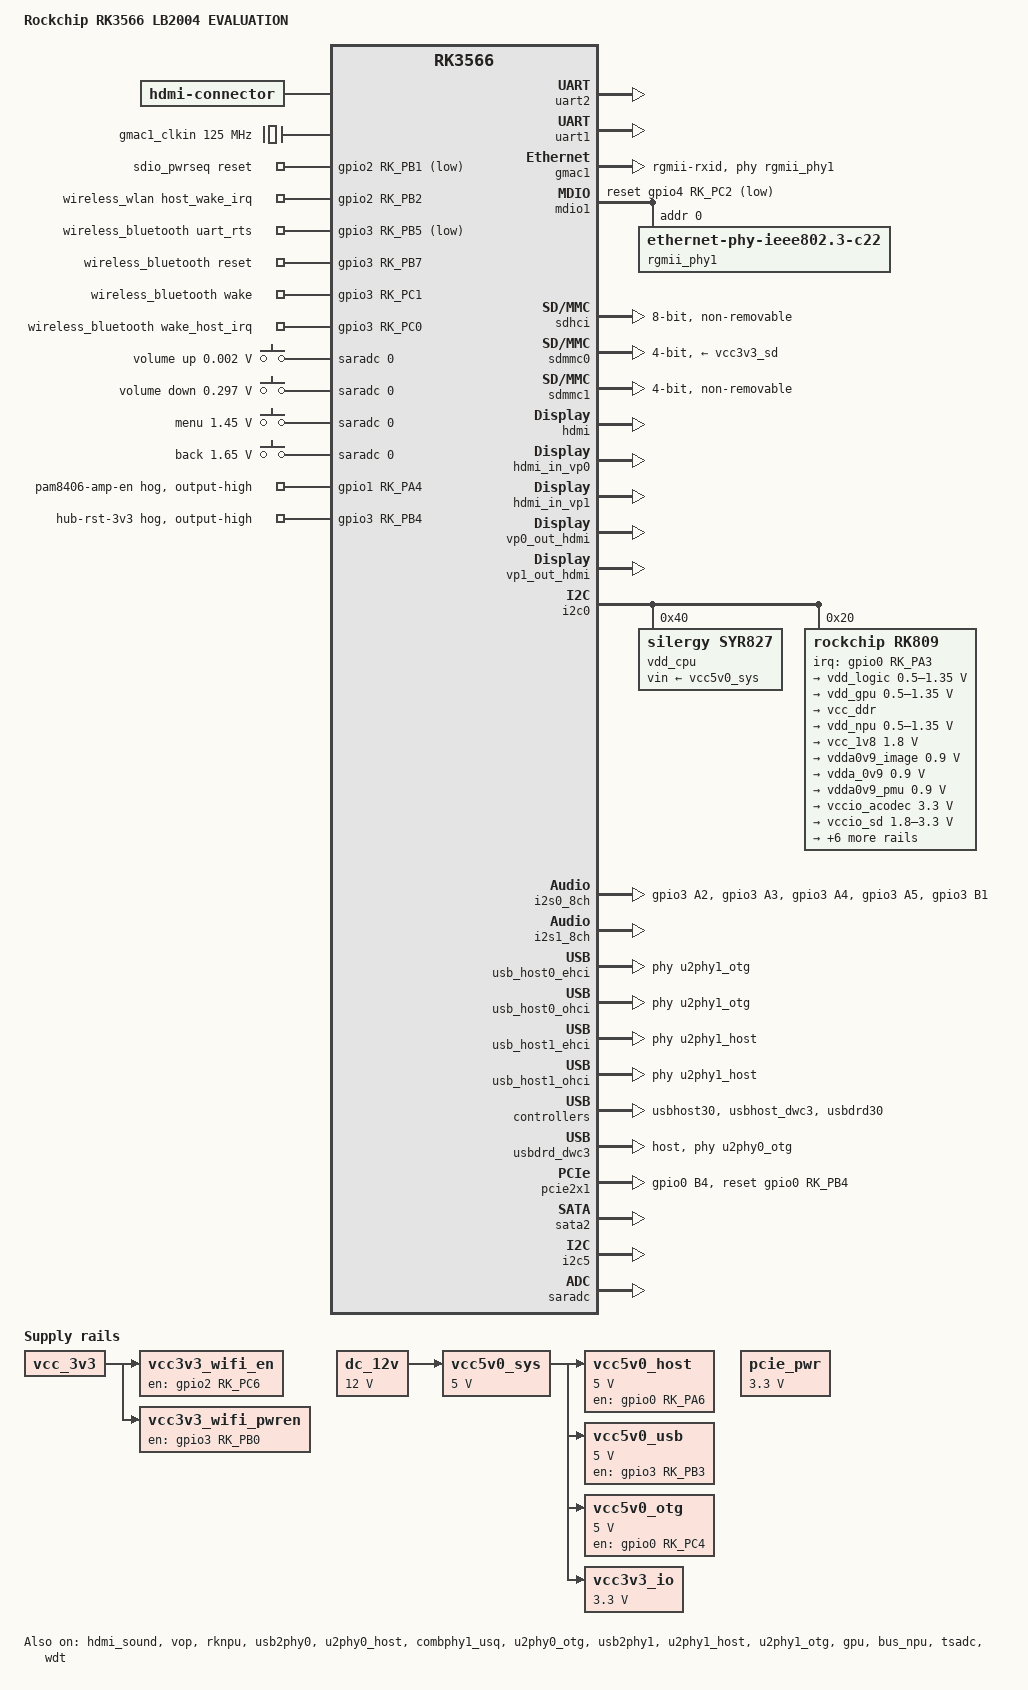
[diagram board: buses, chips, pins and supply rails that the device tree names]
// SPDX-License-Identifier: (GPL-2.0+ OR MIT)
/*
 * Device Tree for RK3566 LB2004 - ported to kemp233/linux-rockchip rk-6.1-rkr6.1
 *
 * Originally written for unifreq/linux-6.1.y-rockchip (kemp233-amlogic-s9xxx-armbian
 * compile-kernel workflow). The two BSP-6.1 forks differ slightly in label naming
 * and node presence; this port wraps the labels that don't exist in
 * kemp233/linux-rockchip rk-6.1-rkr6.1 in #if 0 blocks. To enable them, switch
 * KERNELSOURCE to a BSP tree that has pcie30phy/pcie3x2/vp[0-2] (e.g. unifreq)
 * and remove the #if 0 / #endif.
 */

/dts-v1/;

#include <dt-bindings/gpio/gpio.h>
#include <dt-bindings/input/input.h>
#include <dt-bindings/pinctrl/rockchip.h>
#include <dt-bindings/soc/rockchip,vop2.h>
#include "rk3566.dtsi"

/ {
	model = "Rockchip RK3566 LB2004 EVALUATION";
	compatible = "rockchip,rk3566-evb2-lp4x-v10", "rockchip,rk3566";

	aliases {
		ethernet0 = &gmac1;
		mmc0 = &sdhci;
		mmc1 = &sdmmc1;
		mmc2 = &sdmmc0;
		serial2 = &uart2;
	};

	chosen: chosen {
		stdout-path = "serial2:1500000n8";
	};

	reserved_memory: reserved-memory {
		#address-cells = <2>;
		#size-cells = <2>;
		ranges;

		linux,cma {
			compatible = "shared-dma-pool";
			reusable;
			size = <0x0 0x800000>;
			alloc-ranges = <0x0 0x10000000 0x0 0x800000>;
			linux,cma-default;
		};

		/* 128MB DMA pool for NPU - reserved_memory node, valid in both forks */
		rknpu_mem: rknpu {
			compatible = "shared-dma-pool";
			inactive;
			reusable;
			size = <0x0 0x08000000>;
			alignment = <0x0 0x1000>;
		};

		ramoops: ramoops@110000 {
			compatible = "ramoops";
			reg = <0x0 0x110000 0x0 0xf0000>;
			record-size = <0x20000>;
			console-size = <0x80000>;
			ftrace-size = <0x00000>;
			pmsg-size = <0x50000>;
		};
	};

	/* HDMI connector - kept for compatibility; remote-endpoint omitted
	 * because rk-6.1-rkr6.1 dtsi lacks &hdmi_out label. */
	hdmi-con {
		compatible = "hdmi-connector";
		type = "a";

		port {
			hdmi_con_in: endpoint {
				/* remote-endpoint = <&hdmi_out_con>; BSP-specific */
			};
		};
	};

	/* External 125MHz clock for GMAC1 */
	gmac1_clkin: external-gmac1-clock {
		compatible = "fixed-clock";
		clock-frequency = <125000000>;
		clock-output-names = "gmac1_clkin";
		#clock-cells = <0>;
	};

	/* Power regulators */
	dc_12v: dc-12v {
		compatible = "regulator-fixed";
		regulator-name = "dc_12v";
		regulator-always-on;
		regulator-boot-on;
		regulator-min-microvolt = <12000000>;
		regulator-max-microvolt = <12000000>;
	};

	vcc5v0_sys: vcc5v0-sys {
		compatible = "regulator-fixed";
		regulator-name = "vcc5v0_sys";
		regulator-always-on;
		regulator-boot-on;
		regulator-min-microvolt = <5000000>;
		regulator-max-microvolt = <5000000>;
		vin-supply = <&dc_12v>;
	};

	vcc5v0_host: vcc5v0-host {
		compatible = "regulator-fixed";
		enable-active-high;
		gpio = <&gpio0 RK_PA6 GPIO_ACTIVE_HIGH>;
		pinctrl-names = "default";
		pinctrl-0 = <&vcc5v0_host_en>;
		regulator-name = "vcc5v0_host";
		regulator-always-on;
		regulator-boot-on;
		regulator-min-microvolt = <5000000>;
		regulator-max-microvolt = <5000000>;
		vin-supply = <&vcc5v0_sys>;
	};

	vcc5v0_usb: vcc5v0-usb {
		compatible = "regulator-fixed";
		enable-active-high;
		gpio = <&gpio3 RK_PB3 GPIO_ACTIVE_HIGH>;
		pinctrl-names = "default";
		pinctrl-0 = <&vcc5v0_usb_en>;
		regulator-name = "vcc5v0_usb";
		regulator-always-on;
		regulator-boot-on;
		regulator-min-microvolt = <5000000>;
		regulator-max-microvolt = <5000000>;
		vin-supply = <&vcc5v0_sys>;
	};

	vcc5v0_otg: vcc5v0-otg {
		compatible = "regulator-fixed";
		enable-active-high;
		gpio = <&gpio0 RK_PC4 GPIO_ACTIVE_HIGH>;
		pinctrl-names = "default";
		pinctrl-0 = <&vcc5v0_otg_en>;
		regulator-name = "vcc5v0_otg";
		regulator-always-on;
		regulator-boot-on;
		regulator-min-microvolt = <5000000>;
		regulator-max-microvolt = <5000000>;
		vin-supply = <&vcc5v0_sys>;
	};

	pcie_pwr: pcie-pwr {
		compatible = "regulator-fixed";
		regulator-name = "pcie_pwr";
		regulator-always-on;
		regulator-boot-on;
		regulator-min-microvolt = <3300000>;
		regulator-max-microvolt = <3300000>;
	};

	/* Audio */
	/* HDMI sound (rk356x.dtsi defines the card: i2s0 -> hdmi internal
	 * route) drives the PAM8406 I2S class-D amp - on this board the
	 * amp's I2S lines are tied to the HDMI audio path, same as the
	 * factory Android DTB. Enabled via &hdmi_sound below, no pinctrl
	 * needed: i2s0 -> hdmi is an internal SoC route. */
	rk809_sound: rk809-sound {
		compatible = "simple-audio-card";
		simple-audio-card,format = "i2s";
		simple-audio-card,mclk-fs = <256>;
		simple-audio-card,name = "rockchip,rk809-codec";

		simple-audio-card,cpu {
			sound-dai = <&i2s1_8ch>;
		};
		simple-audio-card,codec {
			sound-dai = <&rk809_codec>;
		};
	};

	/* SDIO WiFi power sequencing */
	sdio_pwrseq: sdio-pwrseq {
		compatible = "mmc-pwrseq-simple";
		clocks = <&rk809 1>;
		clock-names = "ext_clock";
		post-power-on-delay-ms = <200>;
		pinctrl-names = "default";
		pinctrl-0 = <&wifi_enable_h>;
		reset-gpios = <&gpio3 RK_PA1 GPIO_ACTIVE_LOW>;
	};

	/* Wireless */
	wireless_wlan: wireless-wlan {
		compatible = "wlan-platdata";
		rockchip,grf = <&grf>;
		wifi_chip_type = "ap6212";
		sdio_vref = <1800>;
		WIFI,host_wake_irq = <&gpio3 RK_PA2 GPIO_ACTIVE_HIGH>;
		status = "okay";
	};

	wireless_bluetooth: wireless-bluetooth {
		compatible = "bluetooth-platdata";
		clocks = <&rk809 1>;
		clock-names = "ext_clock";
		uart_rts_gpios = <&gpio3 RK_PB5 GPIO_ACTIVE_LOW>;
		pinctrl-names = "default", "rts_gpio";
		pinctrl-0 = <&uart1m0_rtsn>;
		pinctrl-1 = <&bt_rst_gpio>;
		BT,reset_gpio = <&gpio3 RK_PB7 GPIO_ACTIVE_HIGH>;
		BT,wake_gpio = <&gpio3 RK_PC1 GPIO_ACTIVE_HIGH>;
		BT,wake_host_irq = <&gpio3 RK_PC0 GPIO_ACTIVE_HIGH>;
		status = "okay";
	};
};

/* Serial console */
&uart2 {
	status = "okay";
};

/* Bluetooth UART */
&uart1 {
	pinctrl-names = "default";
	pinctrl-0 = <&uart1m0_xfer &uart1m0_ctsn>;
	status = "okay";
};

/* GMAC1 Ethernet - config per original Android DT (ethernet@fe010000):
 * RGMII with external 125MHz clkin, gmac1m1 pin mux (NOT m0), PHY reset on
 * GPIO4 PC2, generic clause-22 PHY at mdio address 0, tx_delay 0x4f /
 * rx_delay 0x2d. Previous port used the m0 mux and PA3 reset pin, which is
 * why the wired NIC never came up. */
&gmac1 {
	/* phy-mode rgmii-rxid: extracted from a working Debian LB2004 - its
	 * PHY (MAE0621A-Q2C, id 0x7b744411) comes up with this mode; plain
	 * "rgmii" left the id read as 0xffff4411 (PHY id1 unreadable). */
	phy-mode = "rgmii-rxid";
	/* clock direction: factory Android uses "input" (external 125M
	 * oscillator feeds the RGMII ref clock). Revert to factory setting -
	 * the earlier "output" experiment still failed to read the PHY id,
	 * so the oscillator hypothesis was not the blocker. */
	clock_in_out = "input";

	assigned-clocks = <&cru SCLK_GMAC1_RX_TX>, <&cru SCLK_GMAC1>;
	/* Clock parents decoded from the working Debian LB2004 DTB:
	 * assigned-clock-parents = <&cru 391> <&cru 197> =
	 * SCLK_GMAC1_RGMII_SPEED, CLK_MAC1_2TOP.  CLK_MAC1_2TOP is the
	 * internal PLL path and pairs with clock_in_out="input" (the
	 * external 125M oscillator feeds gmac1_clkin separately); using
	 * CLK_MAC1_OUT here was the output direction and reparent failed
	 * with -22. */
	assigned-clock-parents = <&cru SCLK_GMAC1_RGMII_SPEED>,
				 <&cru CLK_MAC1_2TOP>;
	assigned-clock-rates = <125000000>, <125000000>;

	pinctrl-names = "default";
	pinctrl-0 = <&gmac1m1_miim &gmac1m1_tx_bus2 &gmac1m1_rx_bus2
		     &gmac1m1_rgmii_clk &gmac1m1_rgmii_bus &gmac1m1_clkinout>;

	/* PHY reset on GPIO4 PC2. Moved from the gmac node's legacy
	 * snps,reset-gpio (which only pulses the line once during mdio
	 * register and then devm_gpiod_put() releases it - on this board
	 * the PHY then falls back to reset and PHY ID1 reads 0xffff) to
	 * the mdio node's standard reset-gpios: the mdio subsystem holds
	 * the GPIO, asserts/deasserts around every PHY probe, so the PHY
	 * is guaranteed out of reset before its ID is read. */
	snps,reset-delays-us = <0 20000 100000>;

	tx_delay = <0x4f>;
	rx_delay = <0x2d>;

	phy-handle = <&rgmii_phy1>;
	status = "okay";
};

&mdio1 {
	/* reset-gpios here (not on gmac): mdio subsystem does the full
	 * assert/deassert around PHY probe and holds the line, so the PHY
	 * (MAE0621A-Q2C) is stable before its ID is read. Delays match the
	 * working Debian LB2004 (snps,reset-delays-us <0 20000 100000>). */
	reset-gpios = <&gpio4 RK_PC2 GPIO_ACTIVE_LOW>;
	reset-delay-us = <20>;
	reset-post-delay-us = <100000>;

	rgmii_phy1: ethernet-phy@0 {
		compatible = "ethernet-phy-ieee802.3-c22";
		reg = <0>;
	};
};

/* eMMC */
&sdhci {
	bus-width = <8>;
	max-frequency = <200000000>;
	non-removable;
	mmc-hs200-1_8v;
	rockchip,txclk-tapnum = <0xc>;
	status = "okay";
};

/* SD card slot */
&sdmmc0 {
	max-frequency = <150000000>;
	supports-sd;
	bus-width = <4>;
	cap-mmc-highspeed;
	cap-sd-highspeed;
	disable-wp;
	sd-uhs-sdr104;
	vqmmc-supply = <&vccio_sd>;
	vmmc-supply = <&vcc3v3_sd>;
	status = "okay";
};

/* SDIO WiFi */
&sdmmc1 {
	max-frequency = <150000000>;
	supports-sdio;
	bus-width = <4>;
	cap-sd-highspeed;
	cap-sdio-irq;
	keep-power-in-suspend;
	mmc-pwrseq = <&sdio_pwrseq>;
	non-removable;
	pinctrl-names = "default";
	pinctrl-0 = <&sdmmc1_bus4 &sdmmc1_cmd &sdmmc1_clk>;
	sd-uhs-sdr104;
	status = "okay";
};

/* 3.3V rail alias - the io-domain driver cannot read the voltage of
 * RK809 SWITCH_REG1 (vcc_3v3), which made the whole io-domains probe
 * fail (-22) and left ALL VCCIO voltages unset (USB/WiFi/GMAC IO dead).
 * This fixed regulator models the same always-on 3.3V rail with a
 * readable voltage. */
/ {
	vcc3v3_io: vcc3v3-io {
		compatible = "regulator-fixed";
		regulator-name = "vcc3v3_io";
		regulator-always-on;
		regulator-boot-on;
		regulator-min-microvolt = <3300000>;
		regulator-max-microvolt = <3300000>;
		vin-supply = <&vcc5v0_sys>;
	};
};

/* IO domains - per original Android DT (io-domains under pmugrf@fdc20000,
 * phandle 0x14e). The main-GRF io-domains node stays disabled as in the
 * factory DT; vccio2 is deliberately left unconfigured there too. */
&pmu_io_domains {
	status = "okay";
	pmuio1-supply = <&vcc3v3_pmu>;
	pmuio2-supply = <&vcc3v3_pmu>;
	vccio1-supply = <&vccio_acodec>;
	vccio3-supply = <&vccio_sd>;
	vccio4-supply = <&vcc_1v8>;
	vccio5-supply = <&vcc3v3_io>;
	vccio6-supply = <&vcc_1v8>;
	vccio7-supply = <&vcc3v3_io>;
};

/* HDMI - core node exists in both forks */
&hdmi {
	avdd-0v9-supply = <&vdda0v9_image>;
	avdd-1v8-supply = <&vcca1v8_image>;
	status = "okay";
};

/* PAM8406 class-D amp enable - GPIO1_A4, ACTIVE_HIGH.  The rk817 codec
 * driver claims the line via spk-ctl-gpios but never raises it, so hog
 * it high here to keep the amp permanently enabled.  This pin must not
 * be muxed as i2s1 sclkrx (see &i2s1_8ch pinctrl override). */
&gpio1 {
	amp_en {
		gpio-hog;
		gpios = <RK_PA4 GPIO_ACTIVE_HIGH>;
		output-high;
		line-name = "pam8406-amp-en";
	};
};

/* HDMI / VOP display pipeline - PAM8406 amp audio rides the HDMI
 * audio path (i2s0 -> hdmi). rk356x.dtsi defines all the nodes and
 * endpoints; they default to disabled, enable them here. */
&hdmi {
	status = "okay";
};

&hdmi_sound {
	status = "okay";
};

&hdmi_in_vp0 {
	status = "okay";
};

&hdmi_in_vp1 {
	status = "okay";
};

&vop {
	assigned-clocks = <&cru DCLK_VOP0>, <&cru DCLK_VOP1>;
	assigned-clock-parents = <&pmucru PLL_HPLL>, <&cru PLL_VPLL>;
	status = "okay";
};

&vop_mmu {
	status = "okay";
};

&vp0 {
	vp0_out_hdmi: endpoint@3 {
		status = "okay";
	};
};

&vp1 {
	vp1_out_hdmi: endpoint@3 {
		status = "okay";
	};
};

/* I2C0: PMIC (SYR827 + RK809) */
&i2c0 {
	status = "okay";

	vdd_cpu: syr827@40 {
		compatible = "silergy,syr827";
		reg = <0x40>;
		fcs,suspend-voltage-selector = <1>;
		regulator-name = "vdd_cpu";
		regulator-min-microvolt = <712500>;
		regulator-max-microvolt = <1390000>;
		regulator-ramp-delay = <2300>;
		regulator-always-on;
		regulator-boot-on;
		vin-supply = <&vcc5v0_sys>;

		regulator-state-mem {
			regulator-on-in-suspend;
		};
	};

	rk809: pmic@20 {
		compatible = "rockchip,rk809";
		reg = <0x20>;
		interrupt-parent = <&gpio0>;
		interrupts = <RK_PA3 IRQ_TYPE_LEVEL_LOW>;
		pinctrl-names = "default", "pmic-sleep",
				"pmic-power-off", "pmic-reset";
		pinctrl-0 = <&pmic_int_l>;
		rockchip,system-power-controller;
		wakeup-source;
		#clock-cells = <1>;
		clock-output-names = "rk808-clkout1", "rk808-clkout2";

		rk809_codec: codec {
			#sound-dai-cells = <0>;
			compatible = "rockchip,rk809-codec", "rockchip,rk817-codec";
			/* mclk from i2s1 (matches factory Android DTB:
			 * clocks = <&cru I2S1_MCLKOUT>) */
			clocks = <&cru I2S1_MCLKOUT>;
			clock-names = "mclk";
			assigned-clocks = <&cru I2S1_MCLKOUT>;
			assigned-clock-rates = <12288000>;
			/* Factory codec grabs the i2s1m0-mclk group: this muxes
			 * GPIO1_A2 to output MCLK.  The PAM8406 amp may need
			 * it even though the codec driver itself ignores
			 * pinctrl - the pinctrl subsystem applies the mux. */
			pinctrl-names = "default";
			pinctrl-0 = <&i2s1m0_mclk>;
			/* PAM8406 amp enable (GPIO1_A4) is hogged high by
			 * pinctrl instead - the codec driver's spk-ctl gpio
			 * handling never raises the line. */
			use-ext-amplifier;
			hp-volume = <20>;
			spk-volume = <18>;
			mic-in-differential;
			status = "okay";
		};

		/* lb2004 has no battery/charger; stub nodes keep the rk808 MFD
		 * from warning "rk817-battery: Failed to locate of_node".
		 * mfd-core skips children whose status is "disabled" silently. */
		battery {
			compatible = "rk817,battery";
			status = "disabled";
		};

		charger {
			compatible = "rk817,charger";
			status = "disabled";
		};

		regulators {
			vdd_logic: DCDC_REG1 {
				regulator-always-on;
				regulator-boot-on;
				regulator-min-microvolt = <500000>;
				regulator-max-microvolt = <1350000>;
				regulator-name = "vdd_logic";
				regulator-state-mem {
					regulator-off-in-suspend;
				};
			};

			vdd_gpu: DCDC_REG2 {
				regulator-always-on;
				regulator-boot-on;
				regulator-min-microvolt = <500000>;
				regulator-max-microvolt = <1350000>;
				/* init voltage + force-PWM mode per original Android DTB */
				regulator-init-microvolt = <900000>;
				regulator-initial-mode = <2>;
				regulator-name = "vdd_gpu";
				regulator-state-mem {
					regulator-off-in-suspend;
				};
			};

			vcc_ddr: DCDC_REG3 {
				regulator-always-on;
				regulator-boot-on;
				regulator-name = "vcc_ddr";
				regulator-state-mem {
					regulator-on-in-suspend;
				};
			};

			vdd_npu: DCDC_REG4 {
				regulator-always-on;
				regulator-boot-on;
				regulator-min-microvolt = <500000>;
				regulator-max-microvolt = <1350000>;
				/* init voltage + force-PWM mode per original Android DTB */
				regulator-init-microvolt = <900000>;
				regulator-initial-mode = <2>;
				regulator-name = "vdd_npu";
				regulator-state-mem {
					regulator-off-in-suspend;
				};
			};

			vcc_1v8: DCDC_REG5 {
				regulator-always-on;
				regulator-boot-on;
				regulator-min-microvolt = <1800000>;
				regulator-max-microvolt = <1800000>;
				regulator-name = "vcc_1v8";
				regulator-state-mem {
					regulator-off-in-suspend;
				};
			};

			vdda0v9_image: LDO_REG1 {
				regulator-always-on;
				regulator-boot-on;
				regulator-min-microvolt = <900000>;
				regulator-max-microvolt = <900000>;
				regulator-name = "vdda0v9_image";
				regulator-state-mem {
					regulator-off-in-suspend;
				};
			};

			vdda_0v9: LDO_REG2 {
				regulator-always-on;
				regulator-boot-on;
				regulator-min-microvolt = <900000>;
				regulator-max-microvolt = <900000>;
				regulator-name = "vdda_0v9";
				regulator-state-mem {
					regulator-off-in-suspend;
				};
			};

			vdda0v9_pmu: LDO_REG3 {
				regulator-always-on;
				regulator-boot-on;
				regulator-min-microvolt = <900000>;
				regulator-max-microvolt = <900000>;
				regulator-name = "vdda0v9_pmu";
				regulator-state-mem {
					regulator-on-in-suspend;
					regulator-suspend-microvolt = <900000>;
				};
			};

			vccio_acodec: LDO_REG4 {
				regulator-always-on;
				regulator-boot-on;
				regulator-min-microvolt = <3300000>;
				regulator-max-microvolt = <3300000>;
				regulator-name = "vccio_acodec";
				regulator-state-mem {
					regulator-off-in-suspend;
				};
			};

			vccio_sd: LDO_REG5 {
				regulator-always-on;
				regulator-boot-on;
				regulator-min-microvolt = <1800000>;
				regulator-max-microvolt = <3300000>;
				regulator-name = "vccio_sd";
				regulator-state-mem {
					regulator-off-in-suspend;
				};
			};

			vcc3v3_pmu: LDO_REG6 {
				regulator-always-on;
				regulator-boot-on;
				regulator-min-microvolt = <3300000>;
				regulator-max-microvolt = <3300000>;
				regulator-name = "vcc3v3_pmu";
				regulator-state-mem {
					regulator-on-in-suspend;
					regulator-suspend-microvolt = <3300000>;
				};
			};

			vcca_1v8: LDO_REG7 {
				regulator-always-on;
				regulator-boot-on;
				regulator-min-microvolt = <1800000>;
				regulator-max-microvolt = <1800000>;
				regulator-name = "vcca_1v8";
				regulator-state-mem {
					regulator-off-in-suspend;
				};
			};

			vcca1v8_pmu: LDO_REG8 {
				regulator-always-on;
				regulator-boot-on;
				regulator-min-microvolt = <1800000>;
				regulator-max-microvolt = <1800000>;
				regulator-name = "vcca1v8_pmu";
				regulator-state-mem {
					regulator-on-in-suspend;
					regulator-suspend-microvolt = <1800000>;
				};
			};

			vcca1v8_image: LDO_REG9 {
				regulator-always-on;
				regulator-boot-on;
				regulator-min-microvolt = <1800000>;
				regulator-max-microvolt = <1800000>;
				regulator-name = "vcca1v8_image";
				regulator-state-mem {
					regulator-off-in-suspend;
				};
			};

			vcc_3v3: SWITCH_REG1 {
				regulator-always-on;
				regulator-boot-on;
				regulator-name = "vcc_3v3";
				regulator-state-mem {
					regulator-off-in-suspend;
				};
			};

			vcc3v3_sd: SWITCH_REG2 {
				regulator-always-on;
				regulator-boot-on;
				regulator-name = "vcc3v3_sd";
				regulator-state-mem {
					regulator-off-in-suspend;
				};
			};
		};
	};
};

/* NPU - rknpu_drv.c fetches its irq by name
 * ({ "npu_irq", rknpu_core0_irq_handler }) via platform_get_irq_byname,
 * so the node needs interrupt-names or probe hits -ENXIO. */
&rknpu {
	interrupt-names = "npu_irq";
};

/* NPU IOMMU - must be enabled for the dma-buf heap path: librknnrt
 * allocates its buffers from the SYSTEM dma-heap, which returns
 * physically scattered pages.  Without this MMU the rknpu driver can
 * only hand the NPU one physical base address, so scattered buffers
 * are unusable (and under-mapped kernel vmaps crashed the kernel in
 * rknpu_job_subcore_commit).  With the MMU on, dma_map_sgtable()
 * gives the buffer a contiguous IOVA and coalesces it to one segment. */
&rknpu_mmu {
	status = "okay";
};

/* NPU opp table - BSP driver bug workaround: the 6.1 branch of
 * rknpu_devfreq.c sets opp_info->supported_hw[] but never calls
 * dev_pm_opp_set_supported_hw(), so the opp framework's
 * opp_table->supported_hw stays NULL.  Since every opp node carries an
 * opp-supported-hw property, _opp_is_supported() marks them ALL
 * unsupported ("no supported OPPs" -> "failed to add opp table" ->
 * no /dev/rknpu).  Drop the properties so the opp framework treats
 * every OPP as supported. */
&npu_opp_table {
	/delete-property/ rockchip,supported-hw;

	opp-200000000 { /delete-property/ opp-supported-hw; };
	opp-300000000 { /delete-property/ opp-supported-hw; };
	opp-400000000 { /delete-property/ opp-supported-hw; };
	opp-600000000 { /delete-property/ opp-supported-hw; };
	opp-700000000 { /delete-property/ opp-supported-hw; };
	opp-800000000 { /delete-property/ opp-supported-hw; };
	opp-900000000 { /delete-property/ opp-supported-hw; };
	opp-1000000000 { /delete-property/ opp-supported-hw; };
};

/* OTP - the dtsi ships short clock-names ("usr","sbpi","apb","phy") but
 * the rockchip-otp driver (rk3568_data) looks them up by full names via
 * devm_clk_bulk_get, so clk lookup fails with -ENOENT, OTP never probes,
 * nvmem cells are missing, and bus-npu cannot read leakage -> NPU opp
 * table init fails ("failed to add opp table").  Restore the names the
 * driver expects. */
&otp {
	clock-names = "clk_otpc_ns_usr", "clk_otpc_ns_sbpi",
		      "pclk_otpc_ns", "pclk_otpphy";
};
&pinctrl {
	/* rk3568-pinctrl.dtsi has no i2s0 groups (i2s0 is normally an
	 * internal route to hdmi).  On LB2004 the PAM8406 amp listens on
	 * i2s0 external pins (gpio3 bank, m0 mux) - define them here.
	 * Pin map: mclk=GPIO3_A2, sclk=GPIO3_A3, lrck=GPIO3_A4,
	 * sdo0=GPIO3_A5, sdi0=GPIO3_B1.
	 * Groups must live under a named child node (like "i2s1 {}" in
	 * rk3568-pinctrl.dtsi) or the pinctrl driver cannot find them. */
	i2s0 {
		i2s0m0_mclk: i2s0m0-mclk {
			rockchip,pins = <3 RK_PA2 1 &pcfg_pull_none>;
		};

		i2s0m0_sclk: i2s0m0-sclk {
			rockchip,pins = <3 RK_PA3 1 &pcfg_pull_none>;
		};

		i2s0m0_lrck: i2s0m0-lrck {
			rockchip,pins = <3 RK_PA4 1 &pcfg_pull_none>;
		};

		i2s0m0_sdo0: i2s0m0-sdo0 {
			rockchip,pins = <3 RK_PA5 1 &pcfg_pull_none>;
		};

		i2s0m0_sdi0: i2s0m0-sdi0 {
			rockchip,pins = <3 RK_PB1 1 &pcfg_pull_none>;
		};
	};
};

&i2s0_8ch {
	/* PAM8406 amp audio: the amp's I2S lines are tied to the HDMI
	 * audio path, which on this board is i2s0 routed to external
	 * pins on the gpio3 bank (see pinctrl groups above). */
	pinctrl-names = "default";
	pinctrl-0 = <&i2s0m0_mclk &i2s0m0_sclk &i2s0m0_lrck
		     &i2s0m0_sdo0 &i2s0m0_sdi0>;
	status = "okay";
};

&i2s1_8ch {
	/* Factory Android DTB: i2s1 uses 4 pin groups (sclktx, lrcktx,
	 * sdi0, sdo0 - phandle 0xab-0xae).  The mclk group (0x3e) lives
	 * on the codec node - the pinctrl core claims it for the codec
	 * at probe, so it must NOT also appear here (conflict -22).
	 * sdo0 (gpio1-7) is the TX data line the PAM8406 amp listens on.
	 * The dtsi default grabs all 12 groups which over-muxes GPIO1_A4
	 * (sclkrx) that the amp enable needs. */
	pinctrl-names = "default";
	pinctrl-0 = <&i2s1m0_sclktx &i2s1m0_lrcktx
		     &i2s1m0_sdi0 &i2s1m0_sdo0>;
	status = "okay";
};

/* USB - 按工厂 Android DTB 接线:
 * usb_host0_ehci/ohci -> u2phy1_otg (phys=0x27), usb_host1 -> u2phy1_host (0x28).
 * 注意: 主控外设寄存器物理走线决定, 必须与工厂一致否则数据线不通. */
&usb_host0_ehci {
	phys = <&u2phy1_otg>;
	status = "okay";
};

&usb_host0_ohci {
	phys = <&u2phy1_otg>;
	status = "okay";
};

&usb_host1_ehci {
	phys = <&u2phy1_host>;
	status = "okay";
};

&usb_host1_ohci {
	phys = <&u2phy1_host>;
	status = "okay";
};

&usb2phy0 {
	status = "okay";
};

&u2phy0_host {
	phy-supply = <&vcc5v0_host>;
	status = "okay";
};

/* USB3 口: 工厂走 usbhost_dwc3(fd000000) + combphy1, 需同时启用父节点 */
&combphy1_usq {
	status = "okay";
};

&usbhost30 {
	status = "okay";
};

&usbhost_dwc3 {
	status = "okay";
};

&u2phy0_otg {
	vbus-supply = <&vcc5v0_otg>;
	status = "okay";
};

&usb2phy1 {
	status = "okay";
};

&u2phy1_host {
	phy-supply = <&vcc5v0_host>;
	status = "okay";
};

&u2phy1_otg {
	phy-supply = <&vcc5v0_host>;
	status = "okay";
};

/* USB3 OTG (Type-C) - factory runs it HS-only off usb2phy0_otg */
&usbdrd30 {
	status = "okay";
};

&usbdrd_dwc3 {
	phys = <&u2phy0_otg>;
	phy-names = "usb2-phy";
	dr_mode = "host";
	maximum-speed = "high-speed";
	status = "okay";
};

/* SDIO WiFi RTL8822CS - factory pins: WL_REG_ON = GPIO2_B1 (pin 9),
 * HOST_WAKE = GPIO2_B2 (pin 10). The Z96A pins (GPIO3_A1/A2) do not
 * exist on this board, so the module was never powered up. */
&sdio_pwrseq {
	reset-gpios = <&gpio2 RK_PB1 GPIO_ACTIVE_LOW>;
	status = "okay";
};

/* WiFi module 3.3V power enables - factory provides them as two
 * always-on fixed regulators (NOT gpio-hogs): the regulator core
 * enables both at probe, rfkill-wlan leaves power GPIOs unset
 * (factory wireless_wlan has no WIFI,poweren_gpio property). */
/ {
	vcc3v3_wifi_en: vcc-3v3-en-regulator {
		compatible = "regulator-fixed";
		gpio = <&gpio2 RK_PC6 GPIO_ACTIVE_HIGH>;
		pinctrl-names = "default";
		pinctrl-0 = <&wifi_en>;
		regulator-name = "vcc_3v3_wifi";
		enable-active-high;
		regulator-always-on;
		regulator-boot-on;
		vin-supply = <&vcc_3v3>;
	};

	vcc3v3_wifi_pwren: vcc-3v3-wifi-regulator {
		compatible = "regulator-fixed";
		gpio = <&gpio3 RK_PB0 GPIO_ACTIVE_HIGH>;
		pinctrl-names = "default";
		pinctrl-0 = <&wifi_pwren>;
		regulator-name = "vcc_3v3_wifi";
		enable-active-high;
		regulator-always-on;
		regulator-boot-on;
		vin-supply = <&vcc_3v3>;
	};
};

&wireless_wlan {
	wifi_chip_type = "rtl8822cs";
	WIFI,host_wake_irq = <&gpio2 RK_PB2 GPIO_ACTIVE_HIGH>;
	pinctrl-names = "default";
	pinctrl-0 = <&wifi_enable_h>;
	status = "okay";
};

/* GPU - mali-supply per original Android DTB (RK809 DCDC_REG2, phandle 0x65);
 * without it GPU DVFS has no regulator to switch. */
&gpu {
	mali-supply = <&vdd_gpu>;
	status = "okay";
};

/* GPU OPP: flat voltages lifted from the original Android DTB (opp-table2).
 * The shipped table runs one step below the BSP default L0 values, so the
 * BSP L0-L3 leakage bins are deleted and flat voltages set. */
&gpu_opp_table {
	opp-200000000 {
		opp-microvolt = <825000 825000 1000000>;
	};
	opp-300000000 {
		opp-microvolt = <825000 825000 1000000>;
	};
	opp-400000000 {
		opp-microvolt = <825000 825000 1000000>;
	};
	opp-600000000 {
		opp-microvolt = <825000 825000 1000000>;
		/delete-property/ opp-microvolt-L0;
		/delete-property/ opp-microvolt-L1;
		/delete-property/ opp-microvolt-L2;
		/delete-property/ opp-microvolt-L3;
	};
	opp-700000000 {
		opp-microvolt = <900000 900000 1000000>;
		/delete-property/ opp-microvolt-L0;
		/delete-property/ opp-microvolt-L1;
		/delete-property/ opp-microvolt-L2;
		/delete-property/ opp-microvolt-L3;
	};
	opp-800000000 {
		opp-microvolt = <950000 950000 1000000>;
		/delete-property/ opp-microvolt-L0;
		/delete-property/ opp-microvolt-L1;
		/delete-property/ opp-microvolt-L2;
		/delete-property/ opp-microvolt-L3;
	};
};

#if 0 /* rk-6.1-rkr6.1 dtsi labels NPU as rknpu, not npu */
&npu {
	memory-region = <&rknpu>;
	status = "okay";
};
#else
&rknpu {
	/* rknpu-supply per original Android DTB = vdd_npu (RK809 DCDC_REG4) */
	rknpu-supply = <&vdd_npu>;
	memory-region = <&rknpu_mem>;
	status = "okay";
};
#endif

/* NPU OPP: flat voltages from the original Android DTB (npu-opp-table);
 * 1GHz OPP stays disabled as shipped, 900MHz is the top enabled point. */
&npu_opp_table {
	opp-200000000 {
		opp-microvolt = <825000 825000 1000000>;
	};
	opp-300000000 {
		opp-microvolt = <825000 825000 1000000>;
	};
	opp-400000000 {
		opp-microvolt = <825000 825000 1000000>;
	};
	opp-600000000 {
		opp-microvolt = <825000 825000 1000000>;
	};
	opp-700000000 {
		opp-microvolt = <850000 850000 1000000>;
		/delete-property/ opp-microvolt-L0;
		/delete-property/ opp-microvolt-L1;
		/delete-property/ opp-microvolt-L2;
		/delete-property/ opp-microvolt-L3;
	};
	opp-800000000 {
		opp-microvolt = <875000 875000 1000000>;
		/delete-property/ opp-microvolt-L0;
		/delete-property/ opp-microvolt-L1;
		/delete-property/ opp-microvolt-L2;
		/delete-property/ opp-microvolt-L3;
	};
	opp-900000000 {
		opp-microvolt = <925000 925000 1000000>;
		/delete-property/ opp-microvolt-L0;
		/delete-property/ opp-microvolt-L1;
		/delete-property/ opp-microvolt-L2;
		/delete-property/ opp-microvolt-L3;
	};
	opp-1000000000 {
		opp-microvolt = <1000000 1000000 1000000>;
		/delete-property/ opp-microvolt-L0;
		/delete-property/ opp-microvolt-L1;
		/delete-property/ opp-microvolt-L2;
		/delete-property/ opp-microvolt-L3;
		/delete-property/ opp-supported-hw;
	};
};

/* CPU OPP: flat voltages from the original Android DTB cpu0-opp-table
 * (825mV up to 1104MHz, then 925/1000/1050mV at 1416/1608/1800MHz). */
&cpu0_opp_table {
	opp-408000000 {
		opp-microvolt = <825000 825000 1150000>;
		/delete-property/ opp-supported-hw;
	};
	opp-600000000 {
		opp-microvolt = <825000 825000 1150000>;
		/delete-property/ opp-supported-hw;
	};
	opp-816000000 {
		opp-microvolt = <825000 825000 1150000>;
		/delete-property/ opp-supported-hw;
	};
	opp-1104000000 {
		opp-microvolt = <825000 825000 1150000>;
		/delete-property/ opp-microvolt-L0;
		/delete-property/ opp-microvolt-L1;
		/delete-property/ opp-microvolt-L2;
		/delete-property/ opp-microvolt-L3;
		/delete-property/ opp-supported-hw;
	};
	opp-1416000000 {
		opp-microvolt = <925000 925000 1150000>;
		/delete-property/ opp-microvolt-L0;
		/delete-property/ opp-microvolt-L1;
		/delete-property/ opp-microvolt-L2;
		/delete-property/ opp-microvolt-L3;
		/delete-property/ opp-supported-hw;
	};
	opp-1608000000 {
		opp-microvolt = <1000000 1000000 1150000>;
		/delete-property/ opp-microvolt-L0;
		/delete-property/ opp-microvolt-L1;
		/delete-property/ opp-microvolt-L2;
		/delete-property/ opp-microvolt-L3;
		/delete-property/ opp-supported-hw;
	};
	opp-1800000000 {
		opp-microvolt = <1050000 1050000 1150000>;
		/delete-property/ opp-microvolt-L0;
		/delete-property/ opp-microvolt-L1;
		/delete-property/ opp-microvolt-L2;
		/delete-property/ opp-microvolt-L3;
		/delete-property/ opp-supported-hw;
	};
};

&bus_npu {
	rockchip,busfreq-policy = "clkfreq";
	status = "okay";
};

/* PCIe - only pcie2x1 in 6.1 RK3566 BSP; pcie30phy/pcie3x2 are RK3588-only */
&pcie2x1 {
	pinctrl-names = "default";
	pinctrl-0 = <&pcie_reset_h>;
	reset-gpios = <&gpio0 RK_PB4 GPIO_ACTIVE_HIGH>;
	status = "okay";
};

#if 0 /* rk-6.1-rkr6.1 dtsi lacks &pcie30phy / &pcie3x2 (RK3588 only) */
&pcie30phy {
	status = "okay";
};

&pcie3x2 {
	phy-supply = <&pcie_pwr>;
	status = "okay";
};
#endif

/* SATA2 - exists in 6.1 BSP */
&sata2 {
	status = "okay";
};

/* TSADC */
&tsadc {
	status = "okay";
};

/* Watchdog */
&wdt {
	status = "okay";
};

/* I2C5 (empty, available for expansion) */
&i2c5 {
	status = "okay";
};

&spi1 {
	status = "disabled";
};

&spi2 {
	status = "disabled";
};

/* CAN - all disabled, exists in 6.1 BSP */
&can0 {
	status = "disabled";
};

&can1 {
	status = "disabled";
};

&can2 {
	status = "disabled";
};

/* PWM (all disabled in Android, keep as-is) */
&pwm0 { status = "disabled"; };
&pwm1 { status = "disabled"; };
&pwm2 { status = "disabled"; };
&pwm3 { status = "disabled"; };
&pwm4 { status = "disabled"; };
&pwm5 { status = "disabled"; };
&pwm6 { status = "disabled"; };
&pwm7 { status = "disabled"; };
&pwm8 { status = "disabled"; };
&pwm9 { status = "disabled"; };
&pwm10 { status = "disabled"; };
&pwm11 { status = "disabled"; };
&pwm12 { status = "disabled"; };
&pwm13 { status = "disabled"; };
&pwm14 { status = "disabled"; };
&pwm15 { status = "disabled"; };

#if 0 /* rk-6.1-rkr6.1 dtsi lacks &pwm16_32k */
&pwm16_32k { status = "disabled"; };
#endif

/* ADC keypad on SARADC ch0 - factory 4-key ladder from the original
 * Android DT (adc-keys, poll 100ms, keyup 1.8V). The same physical button
 * is the Recovery/Loader key: the U-Boot DTB samples ch0 at boot with
 * press-threshold 9uV (~ground) => rockchip download/maskrom mode;
 * in-kernel it reports as KEY_VOLUMEUP. */
&saradc {
	status = "okay";
};

/ {
	adc-keys {
		compatible = "adc-keys";
		io-channels = <&saradc 0>;
		io-channel-names = "buttons";
		keyup-threshold-microvolt = <1800000>;
		poll-interval = <100>;

		vol-up-key {
			label = "volume up";
			linux,code = <KEY_VOLUMEUP>;
			press-threshold-microvolt = <1750>;
		};

		vol-down-key {
			label = "volume down";
			linux,code = <KEY_VOLUMEDOWN>;
			press-threshold-microvolt = <297500>;
		};

		brightness-up-key {
			label = "menu";
			linux,code = <KEY_BRIGHTNESSUP>;
			press-threshold-microvolt = <1450000>;
		};

		back-key {
			label = "back";
			linux,code = <KEY_BRIGHTNESSDOWN>;
			press-threshold-microvolt = <1650000>;
		};
	};
};

/* GPIO hog: hub 芯片复位释放, 启动即驱动为高 */
&gpio3 {
	hub-rst-hog {
		gpio-hog;
		gpios = <RK_PB4 GPIO_ACTIVE_HIGH>;
		output-high;
		line-name = "hub-rst-3v3";
	};
};

/* Pinctrl */
&pinctrl {
	pmic {
		pmic_int_l: pmic-int-l {
			rockchip,pins = <0 RK_PA3 RK_FUNC_GPIO &pcfg_pull_up>;
		};
	};

	usb {
		vcc5v0_usb_en: vcc5v0-usb-en {
			rockchip,pins = <3 RK_PB3 RK_FUNC_GPIO &pcfg_pull_up>;
		};
		vcc5v0_host_en: vcc5v0-host-en {
			rockchip,pins = <0 RK_PA6 RK_FUNC_GPIO &pcfg_pull_none>;
		};
		vcc5v0_otg_en: vcc5v0-otg-en {
			rockchip,pins = <0 RK_PC4 RK_FUNC_GPIO &pcfg_pull_up>;
		};
		hub_rst_3v3: hub-rst-3v3 {
			rockchip,pins = <3 RK_PB4 RK_FUNC_GPIO &pcfg_pull_up>;
		};
	};

	wireless-wlan {
		wifi_enable_h: wifi-enable-h {
			/* WL_REG_ON = GPIO2_B1 per factory DT (was GPIO3_A1/z96a) */
			rockchip,pins = <2 RK_PB1 RK_FUNC_GPIO &pcfg_pull_none>;
		};
		wifi_host_wake_irq: wifi-host-wake-irq {
			rockchip,pins = <2 RK_PB2 RK_FUNC_GPIO &pcfg_pull_down>;
		};
		/* WiFi 3.3V enable pads per factory: wifi-en = GPIO2_C6
		 * (pull-up), wifi-pwren = GPIO3_B0 (pull-down) */
		wifi_en: wifi-en {
			rockchip,pins = <2 RK_PC6 RK_FUNC_GPIO &pcfg_pull_up>;
		};
		wifi_pwren: wifi-pwren {
			rockchip,pins = <3 RK_PB0 RK_FUNC_GPIO &pcfg_pull_down>;
		};
	};

	wireless-bluetooth {
		bt_rst_gpio: bt-rst-gpio {
			rockchip,pins = <3 RK_PB7 RK_FUNC_GPIO &pcfg_pull_none>;
		};
	};

	/* gmac1: board uses the m1 mux (factory Android DT); the m0/m1 pin
	 * groups ship in rk3568-pinctrl.dtsi, referenced from &gmac1 above. */

	/* pcie_reset_h: extracted so &pcie2x1's pinctrl-0 resolves */
	pcie {
		pcie_reset_h: pcie-reset-h {
			rockchip,pins = <0 RK_PB4 RK_FUNC_GPIO &pcfg_pull_none>;
		};
	};
};

/*
 * lb2004 OPP overrides: flatten CPU/GPU/NPU voltage tables to the values
 * measured in the factory Android DTB (one step lower than the BSP tables
 * in rk356x.dtsi, which target RK3568 boards). L0-L3 tiering and
 * opp-supported-hw gating are deleted to match the factory flat tables.
 * io-domains are enabled in the earlier &pmu_io_domains block; vccio5/7
 * point at the readable fixed regulator vcc3v3_io — the RK809 SWITCH_REG1
 * ops has no get_voltage, which would fail the whole io-domains probe.
 */
&cpu0_opp_table {
	opp-408000000 {
		/delete-property/ opp-supported-hw;
		opp-microvolt = <825000 825000 1150000>;
	};
	opp-600000000 {
		/delete-property/ opp-supported-hw;
		opp-microvolt = <825000 825000 1150000>;
	};
	opp-816000000 {
		/delete-property/ opp-supported-hw;
		opp-microvolt = <825000 825000 1150000>;
	};
	opp-1104000000 {
		/delete-property/ opp-supported-hw;
		opp-microvolt = <825000 825000 1150000>;
		/delete-property/ opp-microvolt-L0;
		/delete-property/ opp-microvolt-L1;
		/delete-property/ opp-microvolt-L2;
		/delete-property/ opp-microvolt-L3;
	};
	opp-1416000000 {
		/delete-property/ opp-supported-hw;
		opp-microvolt = <925000 925000 1150000>;
		/delete-property/ opp-microvolt-L0;
		/delete-property/ opp-microvolt-L1;
		/delete-property/ opp-microvolt-L2;
		/delete-property/ opp-microvolt-L3;
	};
	opp-1608000000 {
		/delete-property/ opp-supported-hw;
		opp-microvolt = <1000000 1000000 1150000>;
		/delete-property/ opp-microvolt-L0;
		/delete-property/ opp-microvolt-L1;
		/delete-property/ opp-microvolt-L2;
		/delete-property/ opp-microvolt-L3;
	};
	opp-1800000000 {
		/delete-property/ opp-supported-hw;
		opp-microvolt = <1050000 1050000 1150000>;
		/delete-property/ opp-microvolt-L0;
		/delete-property/ opp-microvolt-L1;
		/delete-property/ opp-microvolt-L2;
		/delete-property/ opp-microvolt-L3;
	};
};

&gpu_opp_table {
	opp-200000000 {
		opp-microvolt = <825000>;
	};
	opp-300000000 {
		opp-microvolt = <825000>;
	};
	opp-400000000 {
		opp-microvolt = <825000>;
	};
	opp-600000000 {
		opp-microvolt = <825000>;
		/delete-property/ opp-microvolt-L0;
		/delete-property/ opp-microvolt-L1;
		/delete-property/ opp-microvolt-L2;
		/delete-property/ opp-microvolt-L3;
	};
	opp-700000000 {
		opp-microvolt = <900000>;
		/delete-property/ opp-microvolt-L0;
		/delete-property/ opp-microvolt-L1;
		/delete-property/ opp-microvolt-L2;
		/delete-property/ opp-microvolt-L3;
	};
	opp-800000000 {
		opp-microvolt = <950000>;
		/delete-property/ opp-microvolt-L0;
		/delete-property/ opp-microvolt-L1;
		/delete-property/ opp-microvolt-L2;
		/delete-property/ opp-microvolt-L3;
	};
};

&npu_opp_table {
	opp-200000000 {
		/delete-property/ opp-supported-hw;
		opp-microvolt = <825000 825000 1000000>;
	};
	opp-300000000 {
		/delete-property/ opp-supported-hw;
		opp-microvolt = <825000 825000 1000000>;
	};
	opp-400000000 {
		/delete-property/ opp-supported-hw;
		opp-microvolt = <825000 825000 1000000>;
	};
	opp-600000000 {
		/delete-property/ opp-supported-hw;
		opp-microvolt = <825000 825000 1000000>;
	};
	opp-700000000 {
		/delete-property/ opp-supported-hw;
		opp-microvolt = <850000 850000 1000000>;
		/delete-property/ opp-microvolt-L0;
		/delete-property/ opp-microvolt-L1;
		/delete-property/ opp-microvolt-L2;
		/delete-property/ opp-microvolt-L3;
	};
	opp-800000000 {
		/delete-property/ opp-supported-hw;
		opp-microvolt = <875000 875000 1000000>;
		/delete-property/ opp-microvolt-L0;
		/delete-property/ opp-microvolt-L1;
		/delete-property/ opp-microvolt-L2;
		/delete-property/ opp-microvolt-L3;
	};
	opp-900000000 {
		/delete-property/ opp-supported-hw;
		opp-microvolt = <925000 925000 1000000>;
		/delete-property/ opp-microvolt-L0;
		/delete-property/ opp-microvolt-L1;
		/delete-property/ opp-microvolt-L2;
		/delete-property/ opp-microvolt-L3;
	};
	/* opp-1000000000: stays disabled (factory same) */
};
